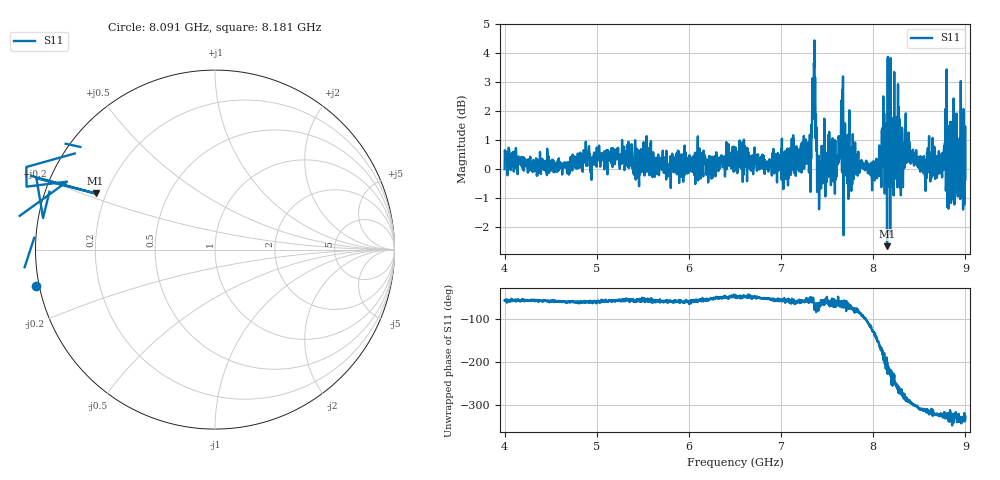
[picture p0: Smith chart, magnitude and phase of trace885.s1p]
! Created with skrf 1.8.0 (http://scikit-rf.org).
# Hz S RI R 50.0
!freq ReS11 ImS11
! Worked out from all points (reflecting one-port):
!   1601 points, 4 GHz to 9 GHz, reference 50 ohm
!   lowest |S11| = -2.7 dB at 8.15 GHz (marker M1), VSWR 6.56, Z = 7.99 + j10.9 ohm
!   phase of S11 starts at -57 deg and turns -271 deg over the sweep
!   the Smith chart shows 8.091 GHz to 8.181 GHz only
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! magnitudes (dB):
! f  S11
! 4 GHz  0.0
! 4.625 GHz  -0.2
! 5.25 GHz  0.0
! 5.875 GHz  0.2
! 6.5 GHz  0.3
! 7.125 GHz  0.3
! 7.303 GHz  -0.1
! 7.356 GHz  3.7
! 7.381 GHz  0.9
! 7.4 GHz  0.3
! 7.416 GHz  -0.5
! 7.512 GHz  1.2
! 7.609 GHz  0.5
! 7.65 GHz  1.3
! 7.703 GHz  -0.1
! 7.75 GHz  0.1
! 8.006 GHz  -0.1
! 8.15 GHz  -2.7
! 8.178 GHz  1.7
! 8.197 GHz  -0.3
! 8.253 GHz  0.9
! 8.312 GHz  1.4
! 8.375 GHz  0.8
! 8.556 GHz  -0.2
! 8.775 GHz  0.6
! 8.906 GHz  0.5
! 8.959 GHz  1.5
! 9 GHz  -0.4
